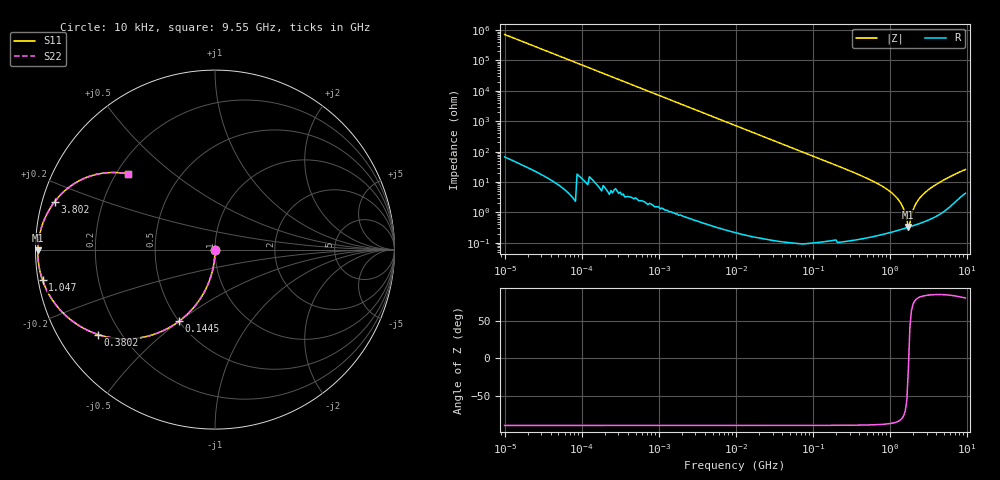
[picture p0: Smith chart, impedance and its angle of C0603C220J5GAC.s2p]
! C0603C220K5GAC
! Temp = 25?C, Bias = 0VDC, Shunt
! KEMET S2P Model
# HZ S DB R 50
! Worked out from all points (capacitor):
!   300 points, 10 kHz to 9.55 GHz, reference 50 ohm
!   read as one part in shunt: C = 22.1 pF near 10.47 kHz
!   lowest |Z| = 334 mohm at 1.738 GHz (marker M1)
!   series resonance near 1.755 GHz, so ESL is about 370 pH
!   S11 on the Smith chart (normalised r, x): 10 kHz: 1.00, -0.00; 144.5 MHz: 0.50, -0.50; 380.2 MHz: 0.12, -0.32; 1.047 GHz: 0.01, -0.09; 3.802 GHz: 0.04, +0.15; 9.55 GHz: 0.24, +0.35
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10000  -89.17 -90.0  0.00 -0.0  0.00 -0.0  -89.17 -90.0
28840.32  -79.97 -90.0  0.00 -0.0  0.00 -0.0  -79.97 -90.0
100000  -69.17 -90.0  -0.00 -0.0  -0.00 -0.0  -69.17 -90.0
1000000  -49.17 -90.2  -0.00 -0.2  -0.00 -0.2  -49.17 -90.2
1e7  -29.22 -92.0  -0.01 -2.0  -0.01 -2.0  -29.22 -92.0
3.63078e7  -18.10 -97.2  -0.07 -7.1  -0.07 -7.1  -18.10 -97.2
1e8  -9.72 -109.1  -0.49 -19.1  -0.49 -19.1  -9.72 -109.1
1.445439e8  -6.98 -116.7  -0.98 -26.6  -0.98 -26.6  -6.98 -116.7
2.398834e8  -3.85 -130.2  -2.34 -40.0  -2.34 -40.0  -3.85 -130.2
3.801893e8  -1.88 -144.0  -4.62 -53.6  -4.62 -53.6  -1.88 -144.0
6.60693e8  -0.63 -159.4  -9.06 -68.4  -9.06 -68.4  -0.63 -159.4
1e9  -0.24 -168.9  -14.33 -76.4  -14.33 -76.4  -0.24 -168.9
1.04713e9  -0.21 -169.9  -15.11 -77.1  -15.11 -77.1  -0.21 -169.9
1.445439e9  -0.12 -176.3  -23.70 -76.5  -23.70 -76.5  -0.12 -176.3
1.584892e9  -0.11 -178.1  -28.94 -68.6  -28.94 -68.6  -0.11 -178.1
1.7378e9  -0.11 -179.8  -37.59 -14.1  -37.59 -14.1  -0.11 -179.8
1.995263e9  -0.13 177.5  -26.74 69.4  -26.74 69.4  -0.13 177.5
2.290866e9  -0.18 174.7  -20.60 74.8  -20.60 74.8  -0.18 174.7
2.884032e9  -0.31 169.9  -15.03 73.5  -15.03 73.5  -0.31 169.9
3.801893e9  -0.61 163.3  -10.82 68.2  -10.82 68.2  -0.61 163.3
6.309576e9  -1.88 149.4  -5.81 53.2  -5.81 53.2  -1.88 149.4
9.549916e9  -3.82 139.0  -3.54 39.5  -3.54 39.5  -3.82 139.0
